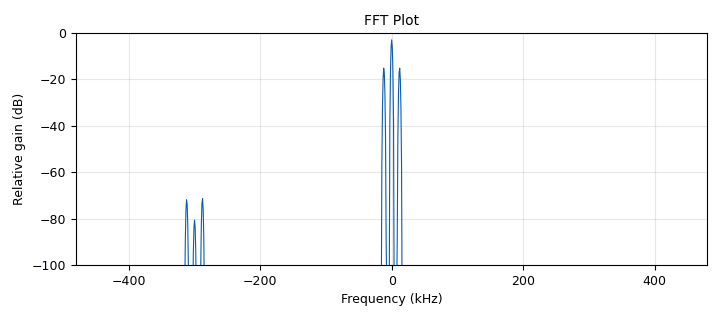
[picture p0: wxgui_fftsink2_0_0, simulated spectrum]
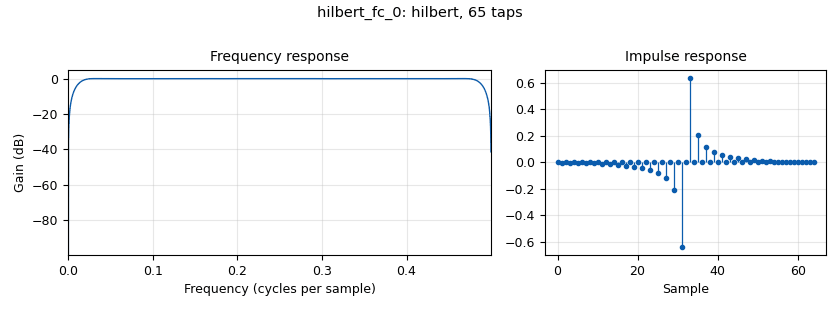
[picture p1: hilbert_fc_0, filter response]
<?xml version='1.0' encoding='utf-8'?>
<?grc format='1' created='3.7.11'?>
<flow_graph>
<block>
<key>options</key>
<param><key>id</key><value>top_block</value></param>
<param><key>generate_options</key><value>wx_gui</value></param>
</block>
<block>
<key>variable</key>
<param><key>id</key><value>samp_rate</value></param>
<param><key>value</key><value>48000</value></param>
</block>
<block>
<key>analog_pll_refout_cc</key>
<param><key>id</key><value>analog_pll_refout_cc_0</value></param>
<param><key>_enabled</key><value>0</value></param>
<param><key>w</key><value>60e3</value></param>
<param><key>max_freq</key><value>120e3</value></param>
<param><key>min_freq</key><value>180e3</value></param>
</block>
<block>
<key>analog_sig_source_x</key>
<param><key>id</key><value>analog_sig_source_x_0</value></param>
<param><key>amp</key><value>1</value></param>
<param><key>freq</key><value>12000</value></param>
<param><key>offset</key><value>0</value></param>
<param><key>type</key><value>float</value></param>
<param><key>samp_rate</key><value>samp_rate*20</value></param>
<param><key>waveform</key><value>analog.GR_COS_WAVE</value></param>
</block>
<block>
<key>analog_sig_source_x</key>
<param><key>id</key><value>analog_sig_source_x_1</value></param>
<param><key>amp</key><value>1</value></param>
<param><key>freq</key><value>150e3</value></param>
<param><key>offset</key><value>0</value></param>
<param><key>type</key><value>complex</value></param>
<param><key>samp_rate</key><value>samp_rate*20</value></param>
<param><key>waveform</key><value>analog.GR_COS_WAVE</value></param>
</block>
<block>
<key>band_reject_filter</key>
<param><key>id</key><value>band_reject_filter_0</value></param>
<param><key>decim</key><value>1</value></param>
<param><key>_enabled</key><value>2</value></param>
<param><key>type</key><value>fir_filter_ccf</value></param>
<param><key>gain</key><value>1</value></param>
<param><key>high_cutoff_freq</key><value>100</value></param>
<param><key>low_cutoff_freq</key><value>0</value></param>
<param><key>samp_rate</key><value>samp_rate*20</value></param>
<param><key>width</key><value>100</value></param>
<param><key>win</key><value>firdes.WIN_HAMMING</value></param>
</block>
<block>
<key>blocks_add_const_vxx</key>
<param><key>id</key><value>blocks_add_const_vxx_1</value></param>
<param><key>const</key><value>1</value></param>
<param><key>type</key><value>float</value></param>
</block>
<block>
<key>blocks_multiply_conjugate_cc</key>
<param><key>id</key><value>blocks_multiply_conjugate_cc_0</value></param>
</block>
<block>
<key>blocks_multiply_const_vxx</key>
<param><key>id</key><value>blocks_multiply_const_vxx_0</value></param>
<param><key>const</key><value>500e-3</value></param>
<param><key>type</key><value>float</value></param>
</block>
<block>
<key>blocks_multiply_xx</key>
<param><key>id</key><value>blocks_multiply_xx_0</value></param>
<param><key>type</key><value>float</value></param>
</block>
<block>
<key>blocks_throttle</key>
<param><key>id</key><value>blocks_throttle_0</value></param>
<param><key>samples_per_second</key><value>samp_rate*20</value></param>
<param><key>type</key><value>float</value></param>
</block>
<block>
<key>analog_sig_source_x</key>
<param><key>id</key><value>carrier</value></param>
<param><key>amp</key><value>1</value></param>
<param><key>freq</key><value>150000</value></param>
<param><key>offset</key><value>0</value></param>
<param><key>type</key><value>float</value></param>
<param><key>samp_rate</key><value>samp_rate*20</value></param>
<param><key>waveform</key><value>analog.GR_COS_WAVE</value></param>
</block>
<block>
<key>hilbert_fc</key>
<param><key>id</key><value>hilbert_fc_0</value></param>
<param><key>num_taps</key><value>65</value></param>
<param><key>win</key><value>firdes.WIN_HAMMING</value></param>
</block>
<block>
<key>wxgui_fftsink2</key>
<param><key>id</key><value>wxgui_fftsink2_0_0</value></param>
<param><key>avg_alpha</key><value>0</value></param>
<param><key>average</key><value>False</value></param>
<param><key>baseband_freq</key><value>0</value></param>
<param><key>fft_size</key><value>1024</value></param>
<param><key>freqvar</key><value>None</value></param>
<param><key>peak_hold</key><value>False</value></param>
<param><key>ref_level</key><value>0</value></param>
<param><key>ref_scale</key><value>2.0</value></param>
<param><key>fft_rate</key><value>15</value></param>
<param><key>samp_rate</key><value>samp_rate*20</value></param>
<param><key>title</key><value>FFT Plot</value></param>
<param><key>type</key><value>complex</value></param>
<param><key>win</key><value>None</value></param>
<param><key>y_divs</key><value>10</value></param>
<param><key>y_per_div</key><value>10</value></param>
</block>
<block>
<key>wxgui_fftsink2</key>
<param><key>id</key><value>wxgui_fftsink2_0_0_0</value></param>
<param><key>avg_alpha</key><value>0</value></param>
<param><key>average</key><value>False</value></param>
<param><key>baseband_freq</key><value>0</value></param>
<param><key>_enabled</key><value>0</value></param>
<param><key>fft_size</key><value>1024</value></param>
<param><key>freqvar</key><value>None</value></param>
<param><key>peak_hold</key><value>False</value></param>
<param><key>ref_level</key><value>0</value></param>
<param><key>ref_scale</key><value>2.0</value></param>
<param><key>fft_rate</key><value>15</value></param>
<param><key>samp_rate</key><value>samp_rate*20</value></param>
<param><key>title</key><value>FFT Plot</value></param>
<param><key>type</key><value>float</value></param>
<param><key>win</key><value>None</value></param>
<param><key>y_divs</key><value>10</value></param>
<param><key>y_per_div</key><value>10</value></param>
</block>
<block>
<key>wxgui_scopesink2</key>
<param><key>id</key><value>wxgui_scopesink2_0</value></param>
<param><key>ac_couple</key><value>False</value></param>
<param><key>_enabled</key><value>0</value></param>
<param><key>num_inputs</key><value>1</value></param>
<param><key>samp_rate</key><value>samp_rate</value></param>
<param><key>t_scale</key><value>0</value></param>
<param><key>title</key><value>Scope Plot</value></param>
<param><key>trig_mode</key><value>wxgui.TRIG_MODE_AUTO</value></param>
<param><key>type</key><value>float</value></param>
<param><key>v_offset</key><value>0</value></param>
<param><key>v_scale</key><value>0</value></param>
<param><key>xy_mode</key><value>False</value></param>
<param><key>y_axis_label</key><value>Counts</value></param>
</block>
<connection><source_block_id>analog_sig_source_x_0</source_block_id><sink_block_id>blocks_throttle_0</sink_block_id><source_key>0</source_key><sink_key>0</sink_key></connection>
<connection><source_block_id>analog_sig_source_x_1</source_block_id><sink_block_id>blocks_multiply_conjugate_cc_0</sink_block_id><source_key>0</source_key><sink_key>1</sink_key></connection>
<connection><source_block_id>band_reject_filter_0</source_block_id><sink_block_id>wxgui_fftsink2_0_0</sink_block_id><source_key>0</source_key><sink_key>0</sink_key></connection>
<connection><source_block_id>blocks_add_const_vxx_1</source_block_id><sink_block_id>blocks_multiply_xx_0</sink_block_id><source_key>0</source_key><sink_key>0</sink_key></connection>
<connection><source_block_id>blocks_multiply_conjugate_cc_0</source_block_id><sink_block_id>band_reject_filter_0</sink_block_id><source_key>0</source_key><sink_key>0</sink_key></connection>
<connection><source_block_id>blocks_multiply_const_vxx_0</source_block_id><sink_block_id>blocks_add_const_vxx_1</sink_block_id><source_key>0</source_key><sink_key>0</sink_key></connection>
<connection><source_block_id>blocks_multiply_xx_0</source_block_id><sink_block_id>hilbert_fc_0</sink_block_id><source_key>0</source_key><sink_key>0</sink_key></connection>
<connection><source_block_id>blocks_throttle_0</source_block_id><sink_block_id>blocks_multiply_const_vxx_0</sink_block_id><source_key>0</source_key><sink_key>0</sink_key></connection>
<connection><source_block_id>carrier</source_block_id><sink_block_id>blocks_multiply_xx_0</sink_block_id><source_key>0</source_key><sink_key>1</sink_key></connection>
<connection><source_block_id>hilbert_fc_0</source_block_id><sink_block_id>blocks_multiply_conjugate_cc_0</sink_block_id><source_key>0</source_key><sink_key>0</sink_key></connection>
</flow_graph>
